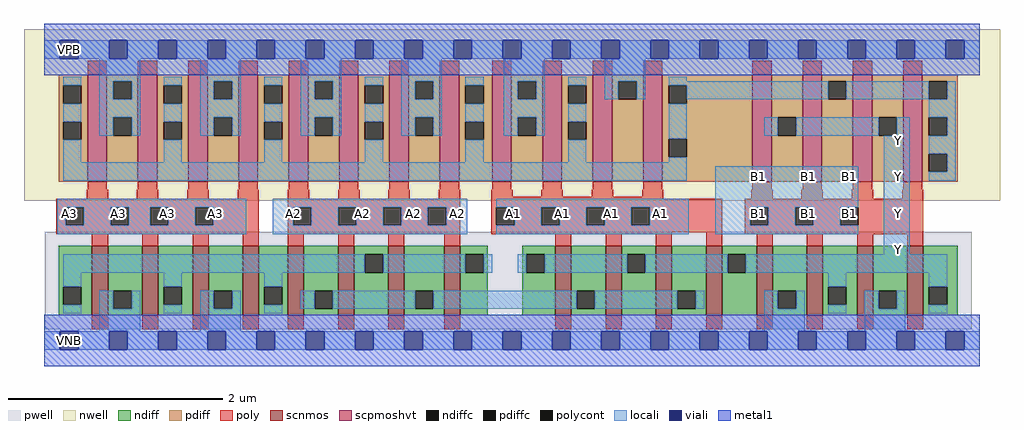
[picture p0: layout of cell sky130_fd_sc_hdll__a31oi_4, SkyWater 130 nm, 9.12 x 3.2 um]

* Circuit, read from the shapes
.subckt sky130_fd_sc_hdll__a31oi_4 A1 A2 A3 B1 VGND VNB VPB VPWR Y
XM1 VGND A3 n1 VNB sky130_fd_pr__nfet_01v8 w=0.65 l=0.15 m=4
XM2 n2 A2 n1 VNB sky130_fd_pr__nfet_01v8 w=0.65 l=0.15 m=4
XM3 n2 A1 Y VNB sky130_fd_pr__nfet_01v8 w=0.65 l=0.15 m=4
XM4 VGND B1 Y VNB sky130_fd_pr__nfet_01v8 w=0.65 l=0.15 m=4
XM5 VPWR A3 n3 VPB sky130_fd_pr__pfet_01v8_hvt w=1 l=0.18 m=4
XM6 VPWR A2 n3 VPB sky130_fd_pr__pfet_01v8_hvt w=1 l=0.18 m=4
XM7 VPWR A1 n3 VPB sky130_fd_pr__pfet_01v8_hvt w=1 l=0.18 m=4
XM8 Y B1 n3 VPB sky130_fd_pr__pfet_01v8_hvt w=1 l=0.18 m=4
.ends

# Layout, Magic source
magic
tech sky130A
magscale 1 2
<< nwell >>
rect -38 261 1786 582
<< pwell >>
rect 1 21 1733 203
rect 30 -17 64 21
<< scnmos >>
rect 89 47 119 177
rect 183 47 213 177
rect 277 47 307 177
rect 371 47 401 177
rect 455 47 485 177
rect 549 47 579 177
rect 643 47 673 177
rect 747 47 777 177
rect 955 47 985 177
rect 1049 47 1079 177
rect 1143 47 1173 177
rect 1237 47 1267 177
rect 1331 47 1361 177
rect 1425 47 1455 177
rect 1519 47 1549 177
rect 1613 47 1643 177
<< scpmoshvt >>
rect 81 297 117 497
rect 175 297 211 497
rect 269 297 305 497
rect 363 297 399 497
rect 457 297 493 497
rect 551 297 587 497
rect 645 297 681 497
rect 739 297 775 497
rect 837 297 873 497
rect 931 297 967 497
rect 1025 297 1061 497
rect 1119 297 1155 497
rect 1323 297 1359 497
rect 1417 297 1453 497
rect 1511 297 1547 497
rect 1605 297 1641 497
<< ndiff >>
rect 27 101 89 177
rect 27 67 35 101
rect 69 67 89 101
rect 27 47 89 67
rect 119 93 183 177
rect 119 59 129 93
rect 163 59 183 93
rect 119 47 183 59
rect 213 101 277 177
rect 213 67 223 101
rect 257 67 277 101
rect 213 47 277 67
rect 307 93 371 177
rect 307 59 317 93
rect 351 59 371 93
rect 307 47 371 59
rect 401 101 455 177
rect 401 67 411 101
rect 445 67 455 101
rect 401 47 455 67
rect 485 93 549 177
rect 485 59 505 93
rect 539 59 549 93
rect 485 47 549 59
rect 579 161 643 177
rect 579 127 599 161
rect 633 127 643 161
rect 579 47 643 127
rect 673 93 747 177
rect 673 59 693 93
rect 727 59 747 93
rect 673 47 747 59
rect 777 161 829 177
rect 777 127 787 161
rect 821 127 829 161
rect 777 47 829 127
rect 893 161 955 177
rect 893 127 901 161
rect 935 127 955 161
rect 893 47 955 127
rect 985 93 1049 177
rect 985 59 995 93
rect 1029 59 1049 93
rect 985 47 1049 59
rect 1079 161 1143 177
rect 1079 127 1089 161
rect 1123 127 1143 161
rect 1079 47 1143 127
rect 1173 93 1237 177
rect 1173 59 1183 93
rect 1217 59 1237 93
rect 1173 47 1237 59
rect 1267 161 1331 177
rect 1267 127 1277 161
rect 1311 127 1331 161
rect 1267 47 1331 127
rect 1361 93 1425 177
rect 1361 59 1371 93
rect 1405 59 1425 93
rect 1361 47 1425 59
rect 1455 101 1519 177
rect 1455 67 1465 101
rect 1499 67 1519 101
rect 1455 47 1519 67
rect 1549 93 1613 177
rect 1549 59 1559 93
rect 1593 59 1613 93
rect 1549 47 1613 59
rect 1643 101 1707 177
rect 1643 67 1653 101
rect 1687 67 1707 101
rect 1643 47 1707 67
<< pdiff >>
rect 27 477 81 497
rect 27 443 35 477
rect 69 443 81 477
rect 27 409 81 443
rect 27 375 35 409
rect 69 375 81 409
rect 27 297 81 375
rect 117 485 175 497
rect 117 451 129 485
rect 163 451 175 485
rect 117 417 175 451
rect 117 383 129 417
rect 163 383 175 417
rect 117 297 175 383
rect 211 477 269 497
rect 211 443 223 477
rect 257 443 269 477
rect 211 409 269 443
rect 211 375 223 409
rect 257 375 269 409
rect 211 297 269 375
rect 305 485 363 497
rect 305 451 317 485
rect 351 451 363 485
rect 305 417 363 451
rect 305 383 317 417
rect 351 383 363 417
rect 305 297 363 383
rect 399 477 457 497
rect 399 443 411 477
rect 445 443 457 477
rect 399 409 457 443
rect 399 375 411 409
rect 445 375 457 409
rect 399 297 457 375
rect 493 485 551 497
rect 493 451 505 485
rect 539 451 551 485
rect 493 417 551 451
rect 493 383 505 417
rect 539 383 551 417
rect 493 297 551 383
rect 587 477 645 497
rect 587 443 599 477
rect 633 443 645 477
rect 587 409 645 443
rect 587 375 599 409
rect 633 375 645 409
rect 587 297 645 375
rect 681 485 739 497
rect 681 451 693 485
rect 727 451 739 485
rect 681 417 739 451
rect 681 383 693 417
rect 727 383 739 417
rect 681 297 739 383
rect 775 477 837 497
rect 775 443 787 477
rect 821 443 837 477
rect 775 409 837 443
rect 775 375 787 409
rect 821 375 837 409
rect 775 297 837 375
rect 873 485 931 497
rect 873 451 885 485
rect 919 451 931 485
rect 873 417 931 451
rect 873 383 885 417
rect 919 383 931 417
rect 873 297 931 383
rect 967 477 1025 497
rect 967 443 979 477
rect 1013 443 1025 477
rect 967 409 1025 443
rect 967 375 979 409
rect 1013 375 1025 409
rect 967 297 1025 375
rect 1061 485 1119 497
rect 1061 451 1073 485
rect 1107 451 1119 485
rect 1061 297 1119 451
rect 1155 477 1323 497
rect 1155 443 1167 477
rect 1201 443 1323 477
rect 1155 377 1323 443
rect 1155 343 1167 377
rect 1201 343 1323 377
rect 1155 297 1323 343
rect 1359 417 1417 497
rect 1359 383 1371 417
rect 1405 383 1417 417
rect 1359 297 1417 383
rect 1453 485 1511 497
rect 1453 451 1465 485
rect 1499 451 1511 485
rect 1453 297 1511 451
rect 1547 417 1605 497
rect 1547 383 1559 417
rect 1593 383 1605 417
rect 1547 297 1605 383
rect 1641 485 1707 497
rect 1641 451 1653 485
rect 1687 451 1707 485
rect 1641 417 1707 451
rect 1641 383 1653 417
rect 1687 383 1707 417
rect 1641 349 1707 383
rect 1641 315 1653 349
rect 1687 315 1707 349
rect 1641 297 1707 315
<< ndiffc >>
rect 35 67 69 101
rect 129 59 163 93
rect 223 67 257 101
rect 317 59 351 93
rect 411 67 445 101
rect 505 59 539 93
rect 599 127 633 161
rect 693 59 727 93
rect 787 127 821 161
rect 901 127 935 161
rect 995 59 1029 93
rect 1089 127 1123 161
rect 1183 59 1217 93
rect 1277 127 1311 161
rect 1371 59 1405 93
rect 1465 67 1499 101
rect 1559 59 1593 93
rect 1653 67 1687 101
<< pdiffc >>
rect 35 443 69 477
rect 35 375 69 409
rect 129 451 163 485
rect 129 383 163 417
rect 223 443 257 477
rect 223 375 257 409
rect 317 451 351 485
rect 317 383 351 417
rect 411 443 445 477
rect 411 375 445 409
rect 505 451 539 485
rect 505 383 539 417
rect 599 443 633 477
rect 599 375 633 409
rect 693 451 727 485
rect 693 383 727 417
rect 787 443 821 477
rect 787 375 821 409
rect 885 451 919 485
rect 885 383 919 417
rect 979 443 1013 477
rect 979 375 1013 409
rect 1073 451 1107 485
rect 1167 443 1201 477
rect 1167 343 1201 377
rect 1371 383 1405 417
rect 1465 451 1499 485
rect 1559 383 1593 417
rect 1653 451 1687 485
rect 1653 383 1687 417
rect 1653 315 1687 349
<< poly >>
rect 81 497 117 523
rect 175 497 211 523
rect 269 497 305 523
rect 363 497 399 523
rect 457 497 493 523
rect 551 497 587 523
rect 645 497 681 523
rect 739 497 775 523
rect 837 497 873 523
rect 931 497 967 523
rect 1025 497 1061 523
rect 1119 497 1155 523
rect 1323 497 1359 523
rect 1417 497 1453 523
rect 1511 497 1547 523
rect 1605 497 1641 523
rect 81 282 117 297
rect 175 282 211 297
rect 269 282 305 297
rect 363 282 399 297
rect 457 282 493 297
rect 551 282 587 297
rect 645 282 681 297
rect 739 282 775 297
rect 837 282 873 297
rect 931 282 967 297
rect 1025 282 1061 297
rect 1119 282 1155 297
rect 1323 282 1359 297
rect 1417 282 1453 297
rect 1511 282 1547 297
rect 1605 282 1641 297
rect 79 265 119 282
rect 173 265 213 282
rect 267 265 307 282
rect 361 265 401 282
rect 22 249 401 265
rect 22 215 40 249
rect 74 215 124 249
rect 158 215 198 249
rect 232 215 282 249
rect 316 215 401 249
rect 22 199 401 215
rect 89 177 119 199
rect 183 177 213 199
rect 277 177 307 199
rect 371 177 401 199
rect 455 265 495 282
rect 549 265 589 282
rect 643 265 683 282
rect 737 265 777 282
rect 455 249 777 265
rect 455 215 465 249
rect 499 215 549 249
rect 583 215 633 249
rect 667 215 717 249
rect 751 215 777 249
rect 455 199 777 215
rect 835 269 875 282
rect 929 269 969 282
rect 1023 269 1063 282
rect 1117 269 1157 282
rect 835 265 1157 269
rect 1321 265 1361 282
rect 1415 265 1455 282
rect 1509 265 1549 282
rect 1603 265 1643 282
rect 835 249 1267 265
rect 835 215 845 249
rect 879 215 929 249
rect 963 215 1013 249
rect 1047 215 1097 249
rect 1131 215 1267 249
rect 835 202 1267 215
rect 835 199 1173 202
rect 455 177 485 199
rect 549 177 579 199
rect 643 177 673 199
rect 747 177 777 199
rect 955 177 985 199
rect 1049 177 1079 199
rect 1143 177 1173 199
rect 1237 177 1267 202
rect 1309 249 1643 265
rect 1309 215 1319 249
rect 1353 215 1403 249
rect 1437 215 1487 249
rect 1521 215 1643 249
rect 1309 199 1643 215
rect 1331 177 1361 199
rect 1425 177 1455 199
rect 1519 177 1549 199
rect 1613 177 1643 199
rect 89 21 119 47
rect 183 21 213 47
rect 277 21 307 47
rect 371 21 401 47
rect 455 21 485 47
rect 549 21 579 47
rect 643 21 673 47
rect 747 21 777 47
rect 955 21 985 47
rect 1049 21 1079 47
rect 1143 21 1173 47
rect 1237 21 1267 47
rect 1331 21 1361 47
rect 1425 21 1455 47
rect 1519 21 1549 47
rect 1613 21 1643 47
<< polycont >>
rect 40 215 74 249
rect 124 215 158 249
rect 198 215 232 249
rect 282 215 316 249
rect 465 215 499 249
rect 549 215 583 249
rect 633 215 667 249
rect 717 215 751 249
rect 845 215 879 249
rect 929 215 963 249
rect 1013 215 1047 249
rect 1097 215 1131 249
rect 1319 215 1353 249
rect 1403 215 1437 249
rect 1487 215 1521 249
<< locali >>
rect 0 527 29 561
rect 63 527 121 561
rect 155 527 213 561
rect 247 527 305 561
rect 339 527 397 561
rect 431 527 489 561
rect 523 527 581 561
rect 615 527 673 561
rect 707 527 765 561
rect 799 527 857 561
rect 891 527 949 561
rect 983 527 1041 561
rect 1075 527 1133 561
rect 1167 527 1225 561
rect 1259 527 1317 561
rect 1351 527 1409 561
rect 1443 527 1501 561
rect 1535 527 1593 561
rect 1627 527 1685 561
rect 1719 527 1748 561
rect 35 477 69 493
rect 35 409 69 443
rect 103 485 179 527
rect 103 451 129 485
rect 163 451 179 485
rect 103 417 179 451
rect 103 383 129 417
rect 163 383 179 417
rect 223 477 257 493
rect 223 409 257 443
rect 35 333 69 375
rect 291 485 367 527
rect 291 451 317 485
rect 351 451 367 485
rect 291 417 367 451
rect 291 383 317 417
rect 351 383 367 417
rect 411 477 445 493
rect 411 409 445 443
rect 223 333 257 375
rect 479 485 555 527
rect 479 451 505 485
rect 539 451 555 485
rect 479 417 555 451
rect 479 383 505 417
rect 539 383 555 417
rect 599 477 633 493
rect 599 409 633 443
rect 411 333 445 375
rect 667 485 743 527
rect 667 451 693 485
rect 727 451 743 485
rect 667 417 743 451
rect 667 383 693 417
rect 727 383 743 417
rect 787 477 821 493
rect 787 409 821 443
rect 599 333 633 375
rect 859 485 935 527
rect 859 451 885 485
rect 919 451 935 485
rect 859 417 935 451
rect 859 383 885 417
rect 919 383 935 417
rect 979 477 1013 493
rect 1047 485 1123 527
rect 1047 451 1073 485
rect 1107 451 1123 485
rect 1167 485 1201 493
rect 1167 477 1465 485
rect 979 409 1013 443
rect 787 333 821 375
rect 979 333 1013 375
rect 1201 451 1465 477
rect 1499 451 1653 485
rect 1687 451 1703 485
rect 1167 377 1201 443
rect 1653 417 1703 451
rect 1345 383 1371 417
rect 1405 383 1559 417
rect 1593 383 1617 417
rect 1167 333 1201 343
rect 35 299 1201 333
rect 24 249 377 265
rect 24 215 40 249
rect 74 215 124 249
rect 158 215 198 249
rect 232 215 282 249
rect 316 215 377 249
rect 24 199 377 215
rect 427 249 790 265
rect 427 215 465 249
rect 499 215 549 249
rect 583 215 633 249
rect 667 215 717 249
rect 751 215 790 249
rect 427 199 790 215
rect 845 249 1204 265
rect 879 215 929 249
rect 963 215 1013 249
rect 1047 215 1097 249
rect 1131 215 1204 249
rect 845 199 1204 215
rect 1254 249 1521 326
rect 1254 215 1319 249
rect 1353 215 1403 249
rect 1437 215 1487 249
rect 1254 199 1521 215
rect 1569 161 1617 383
rect 1687 383 1703 417
rect 1653 349 1703 383
rect 1687 315 1703 349
rect 1653 299 1703 315
rect 35 127 599 161
rect 633 127 787 161
rect 821 127 837 161
rect 885 127 901 161
rect 935 127 1089 161
rect 1123 127 1277 161
rect 1311 127 1687 161
rect 35 101 69 127
rect 223 101 257 127
rect 35 51 69 67
rect 103 59 129 93
rect 163 59 179 93
rect 103 17 179 59
rect 411 101 445 127
rect 223 51 257 67
rect 291 59 317 93
rect 351 59 367 93
rect 291 17 367 59
rect 1465 101 1499 127
rect 411 51 445 67
rect 479 59 505 93
rect 539 59 693 93
rect 727 59 995 93
rect 1029 59 1183 93
rect 1217 59 1233 93
rect 1345 59 1371 93
rect 1405 59 1421 93
rect 1345 17 1421 59
rect 1653 101 1687 127
rect 1465 51 1499 67
rect 1533 59 1559 93
rect 1593 59 1609 93
rect 1533 17 1609 59
rect 1653 51 1687 67
rect 0 -17 29 17
rect 63 -17 121 17
rect 155 -17 213 17
rect 247 -17 305 17
rect 339 -17 397 17
rect 431 -17 489 17
rect 523 -17 581 17
rect 615 -17 673 17
rect 707 -17 765 17
rect 799 -17 857 17
rect 891 -17 949 17
rect 983 -17 1041 17
rect 1075 -17 1133 17
rect 1167 -17 1225 17
rect 1259 -17 1317 17
rect 1351 -17 1409 17
rect 1443 -17 1501 17
rect 1535 -17 1593 17
rect 1627 -17 1685 17
rect 1719 -17 1748 17
<< viali >>
rect 29 527 63 561
rect 121 527 155 561
rect 213 527 247 561
rect 305 527 339 561
rect 397 527 431 561
rect 489 527 523 561
rect 581 527 615 561
rect 673 527 707 561
rect 765 527 799 561
rect 857 527 891 561
rect 949 527 983 561
rect 1041 527 1075 561
rect 1133 527 1167 561
rect 1225 527 1259 561
rect 1317 527 1351 561
rect 1409 527 1443 561
rect 1501 527 1535 561
rect 1593 527 1627 561
rect 1685 527 1719 561
rect 29 -17 63 17
rect 121 -17 155 17
rect 213 -17 247 17
rect 305 -17 339 17
rect 397 -17 431 17
rect 489 -17 523 17
rect 581 -17 615 17
rect 673 -17 707 17
rect 765 -17 799 17
rect 857 -17 891 17
rect 949 -17 983 17
rect 1041 -17 1075 17
rect 1133 -17 1167 17
rect 1225 -17 1259 17
rect 1317 -17 1351 17
rect 1409 -17 1443 17
rect 1501 -17 1535 17
rect 1593 -17 1627 17
rect 1685 -17 1719 17
<< metal1 >>
rect 0 561 1748 592
rect 0 527 29 561
rect 63 527 121 561
rect 155 527 213 561
rect 247 527 305 561
rect 339 527 397 561
rect 431 527 489 561
rect 523 527 581 561
rect 615 527 673 561
rect 707 527 765 561
rect 799 527 857 561
rect 891 527 949 561
rect 983 527 1041 561
rect 1075 527 1133 561
rect 1167 527 1225 561
rect 1259 527 1317 561
rect 1351 527 1409 561
rect 1443 527 1501 561
rect 1535 527 1593 561
rect 1627 527 1685 561
rect 1719 527 1748 561
rect 0 496 1748 527
rect 0 17 1748 48
rect 0 -17 29 17
rect 63 -17 121 17
rect 155 -17 213 17
rect 247 -17 305 17
rect 339 -17 397 17
rect 431 -17 489 17
rect 523 -17 581 17
rect 615 -17 673 17
rect 707 -17 765 17
rect 799 -17 857 17
rect 891 -17 949 17
rect 983 -17 1041 17
rect 1075 -17 1133 17
rect 1167 -17 1225 17
rect 1259 -17 1317 17
rect 1351 -17 1409 17
rect 1443 -17 1501 17
rect 1535 -17 1593 17
rect 1627 -17 1685 17
rect 1719 -17 1748 17
rect 0 -48 1748 -17
<< labels >>
flabel locali s 1579 153 1613 187 0 FreeSans 200 0 0 0 Y
port 9 nsew signal output
flabel locali s 1579 221 1613 255 0 FreeSans 200 0 0 0 Y
port 9 nsew signal output
flabel locali s 1579 289 1613 323 0 FreeSans 200 0 0 0 Y
port 9 nsew signal output
flabel locali s 1579 357 1613 391 0 FreeSans 200 0 0 0 Y
port 9 nsew signal output
flabel locali s 1487 289 1521 323 0 FreeSans 200 0 0 0 B1
port 4 nsew signal input
flabel locali s 756 221 790 255 0 FreeSans 200 0 0 0 A2
port 2 nsew signal input
flabel locali s 302 221 336 255 0 FreeSans 200 0 0 0 A3
port 3 nsew signal input
flabel locali s 1134 221 1168 255 0 FreeSans 200 0 0 0 A1
port 1 nsew signal input
flabel locali s 1318 289 1352 323 0 FreeSans 200 0 0 0 B1
port 4 nsew signal input
flabel locali s 1411 289 1445 323 0 FreeSans 200 0 0 0 B1
port 4 nsew signal input
flabel locali s 1318 221 1352 255 0 FreeSans 200 0 0 0 B1
port 4 nsew signal input
flabel locali s 1411 221 1445 255 0 FreeSans 200 0 0 0 B1
port 4 nsew signal input
flabel locali s 578 221 612 255 0 FreeSans 200 0 0 0 A2
port 2 nsew signal input
flabel locali s 1487 221 1521 255 0 FreeSans 200 0 0 0 B1
port 4 nsew signal input
flabel locali s 466 238 466 238 0 FreeSans 200 0 0 0 A2
port 2 nsew
flabel locali s 1043 221 1077 255 0 FreeSans 200 0 0 0 A1
port 1 nsew signal input
flabel locali s 213 221 247 255 0 FreeSans 200 0 0 0 A3
port 3 nsew signal input
flabel locali s 122 221 156 255 0 FreeSans 200 0 0 0 A3
port 3 nsew signal input
flabel locali s 30 221 64 255 0 FreeSans 200 0 0 0 A3
port 3 nsew signal input
flabel locali s 672 221 706 255 0 FreeSans 200 0 0 0 A2
port 2 nsew
flabel locali s 952 221 986 255 0 FreeSans 200 0 0 0 A1
port 1 nsew signal input
flabel locali s 860 221 894 255 0 FreeSans 200 0 0 0 A1
port 1 nsew signal input
flabel pwell s 30 -17 64 17 0 FreeSans 200 0 0 0 VNB
port 6 nsew ground bidirectional
flabel nwell s 30 527 64 561 0 FreeSans 200 0 0 0 VPB
port 7 nsew power bidirectional
flabel metal1 s 30 527 64 561 0 FreeSans 200 0 0 0 VPWR
port 8 nsew power bidirectional
flabel metal1 s 30 -17 64 17 0 FreeSans 200 0 0 0 VGND
port 5 nsew ground bidirectional
<< properties >>
string LEFsite unithd
string LEFclass CORE
string FIXED_BBOX 0 0 1748 544
string GDS_FILE $PDKPATH/libs.ref/sky130_fd_sc_hdll/gds/sky130_fd_sc_hdll.gds
string LEFsymmetry X Y R90
string GDS_END 1574042
string GDS_START 1560450
string LEFproperties maskLayoutSubType "abstract" prCellType "standard" originalViewName "layout"
<< end >>
